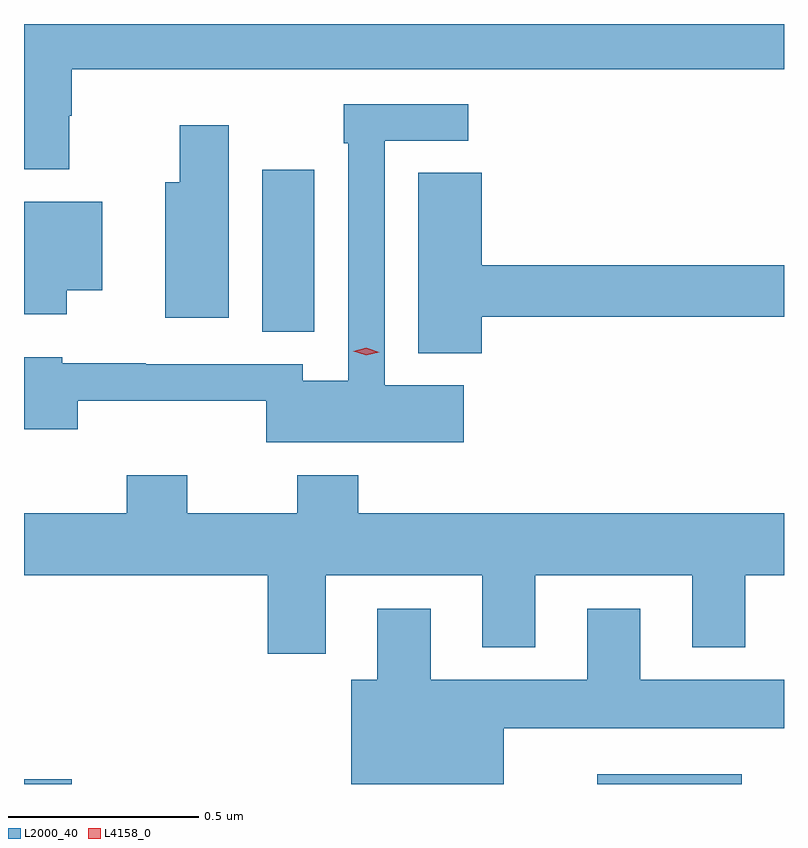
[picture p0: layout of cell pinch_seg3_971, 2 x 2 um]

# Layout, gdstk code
import gdstk
lib = gdstk.Library(unit=1e-6, precision=1e-09)
def R(c, l, rs):  # rectangles x0, y0, x1, y1
    for r in rs: c.add(gdstk.rectangle(r[:2], r[2:], *l))
def P(c, l, *ps):  # polygons
    for p in ps: c.add(gdstk.Polygon(p, *l))
L2000_40 = (2000, 40)
L4158_0 = (4158, 0)

pinch_seg3_971 = lib.new_cell('pinch_seg3_971')
R(pinch_seg3_971, L2000_40, [(418.247,709.691,418.373,709.704), (419.756,709.691,420.136,709.717), (418.874,710.881,419.011,711.307)])
P(pinch_seg3_971, L2000_40, [(418.366,711.449),(418.373,711.449),(418.373,711.572),(420.247,711.572),(420.247,711.691),(418.247,711.691),(418.247,711.309),(418.366,711.309)],
  [(419.404,710.74),(419.196,710.74),(419.196,711.384),(419.416,711.384),(419.416,711.48),(419.088,711.48),(419.088,711.377),(419.1,711.377),(419.1,710.752),(418.98,710.752),(418.98,710.796),(418.568,710.796),(418.568,710.798),(418.347,710.798),(418.347,710.814),(418.247,710.814),(418.247,710.624),(418.388,710.624),(418.388,710.699),(418.884,710.699),(418.884,710.591),(419.404,710.591)],
  [(418.786,711.424),(418.657,711.424),(418.657,711.274),(418.619,711.274),(418.619,710.918),(418.786,710.918)],
  [(419.452,710.92),(420.247,710.92),(420.247,711.056),(419.452,711.056),(419.452,711.299),(419.285,711.299),(419.285,710.825),(419.452,710.825)],
  [(418.36,710.99),(418.453,710.99),(418.453,711.223),(418.247,711.223),(418.247,710.927),(418.36,710.927)],
  [(419.041,710.24),(419.453,710.24),(419.453,710.051),(419.593,710.051),(419.593,710.24),(420.005,710.24),(420.005,710.051),(420.145,710.051),(420.145,710.24),(420.247,710.24),(420.247,710.404),(419.126,710.404),(419.126,710.503),(418.966,710.503),(418.966,710.404),(418.677,710.404),(418.677,710.503),(418.517,710.503),(418.517,710.404),(418.247,710.404),(418.247,710.24),(418.889,710.24),(418.889,710.034),(419.041,710.034)],
  [(419.509,709.838),(420.247,709.838),(420.247,709.966),(419.869,709.966),(419.869,710.152),(419.729,710.152),(419.729,709.966),(419.317,709.966),(419.317,710.152),(419.177,710.152),(419.177,709.966),(419.108,709.966),(419.108,709.691),(419.509,709.691)])
P(pinch_seg3_971, L4158_0, [(419.147,710.819),(419.113,710.83),(419.112,710.83),(419.113,710.83),(419.148,710.839),(419.182,710.827),(419.182,710.827),(419.182,710.827)])

lib.write_gds('pinch_seg3_971.gds')
